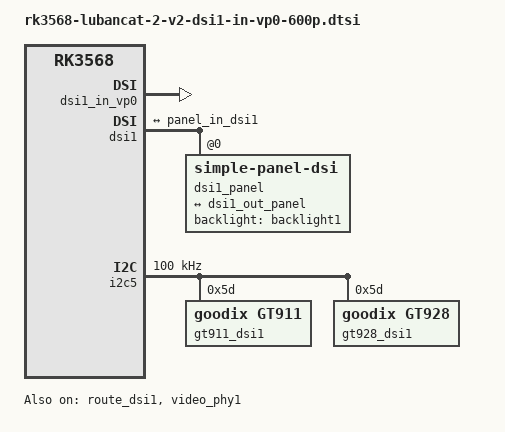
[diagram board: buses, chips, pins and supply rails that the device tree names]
// SPDX-License-Identifier: (GPL-2.0+ OR MIT)
/*
 * Copyright (c) 2020 Rockchip Electronics Co., Ltd.
 *
 */
&route_dsi1 {
	status = "okay";
	connect = <&vp0_out_dsi1>;
};

&video_phy1 {
	status = "okay";
};

&dsi1_in_vp1 {
	status = "disabled";
};

&dsi1_in_vp0 {
	status = "okay";
};

&dsi1 {
	status = "okay";
	power-supply = <&mipi_dsi1_power>;
	dsi1_panel:panel@0 {
		status = "okay";
		compatible = "simple-panel-dsi";
		reg = <0>;
		backlight = <&backlight1>;

		enable-delay-ms = <35>;
		prepare-delay-ms = <6>;
		reset-delay-ms = <0>;
		init-delay-ms = <20>;
		unprepare-delay-ms = <0>;
		disable-delay-ms = <20>;

		size,width = <74>;
		size,height = <133>;

		dsi,flags = <(MIPI_DSI_MODE_VIDEO | MIPI_DSI_MODE_VIDEO_BURST | MIPI_DSI_MODE_LPM | MIPI_DSI_MODE_EOT_PACKET)>;
		dsi,format = <MIPI_DSI_FMT_RGB888>;
		dsi,lanes  = <4>;

		panel-init-sequence = [
			15 00 02 80 AC
			15 00 02 81 B8
			15 00 02 82 09
			15 00 02 83 78
			15 00 02 84 7f
			15 00 02 85 bb
			15 00 02 86 70
		];

		panel-exit-sequence = [
			05 78 01 28
			05 00 01 10
		];

		disp_timings: display-timings {
			native-mode = <&dsi1_timing>;
			dsi1_timing: timing {
				clock-frequency = <51669000>;
				hactive = <1024>;
				vactive = <600>;
				hsync-len = <10>;
				hback-porch = <160>;
				hfront-porch = <160>;
				vsync-len = <1>;
				vback-porch = <23>;
				vfront-porch = <12>;
				hsync-active = <0>;
				vsync-active = <0>;
				de-active = <0>;
				pixelclk-active = <0>;
			};
		};

		ports {
			#address-cells = <1>;
			#size-cells = <0>;
			port@0 {
				reg = <0>;
				panel_in_dsi1: endpoint {
					remote-endpoint = <&dsi1_out_panel>;
				};
			};
		};
	};

	ports {
		#address-cells = <1>;
		#size-cells = <0>;

		port@1 {
			reg = <1>;
			dsi1_out_panel: endpoint {
				remote-endpoint = <&panel_in_dsi1>;
			};
		};
   };
};

&i2c5 {
	status = "okay";
	clock-frequency = <100000>;
	#address-cells = <1>;
	#size-cells = <0>;

	gt911_dsi1: gt911@5d {
		status = "okay";
		compatible = "goodix,gt911";
		reg = <0x5d>;
		touchscreen-inverted-x = <1>;
		touchscreen-inverted-y = <1>;
	};

	gt928_dsi1: gt928@5d {
		status = "okay";
		compatible = "goodix,gt928";
		reg = <0x5d>;
		touchscreen-inverted-y;
	};
};

&route_hdmi {
    status = "disabled";
};

&hdmi_in_vp0 {
    status = "disabled";
};

&hdmi_in_vp1 {
    status = "disabled";
};

&hdmi {
    status = "disabled";
};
